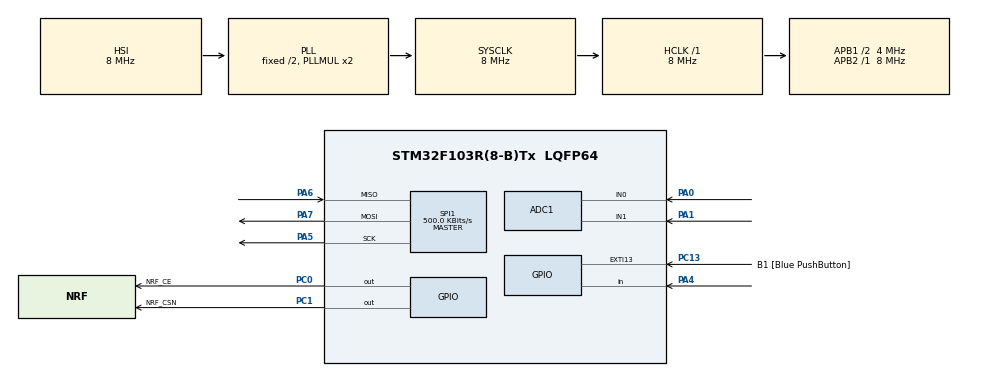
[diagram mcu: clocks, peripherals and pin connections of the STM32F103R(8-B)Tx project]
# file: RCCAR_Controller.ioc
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ADC1.Channel-3\#ChannelRegularConversion=ADC_CHANNEL_0
ADC1.Channel-4\#ChannelRegularConversion=ADC_CHANNEL_1
ADC1.ContinuousConvMode=ENABLE
ADC1.NbrOfConversion=2
ADC1.NbrOfConversionFlag=1
ADC1.Rank-3\#ChannelRegularConversion=1
ADC1.Rank-4\#ChannelRegularConversion=2
ADC1.SamplingTime-3\#ChannelRegularConversion=ADC_SAMPLETIME_71CYCLES_5
ADC1.SamplingTime-4\#ChannelRegularConversion=ADC_SAMPLETIME_71CYCLES_5
ADC1.master=1
Mcu.Family=STM32F1
Mcu.Name=STM32F103R(8-B)Tx
Mcu.Package=LQFP64
NVIC.EXTI15_10_IRQn=true\:0\:0\:false\:false\:true\:true\:true\:true
NVIC.PriorityGroup=NVIC_PRIORITYGROUP_4
PA0-WKUP.Signal=ADCx_IN0
PA1.Signal=ADCx_IN1
PA13.GPIO_Label=TMS
PA13.Mode=Serial_Wire
PA13.Signal=SYS_JTMS-SWDIO
PA14.GPIO_Label=TCK
PA14.Mode=Serial_Wire
PA14.Signal=SYS_JTCK-SWCLK
PA2.GPIO_Label=USART_TX
PA2.GPIO_Mode=GPIO_MODE_AF_PP
PA2.GPIO_PuPd=GPIO_NOPULL
PA2.GPIO_Speed=GPIO_SPEED_FREQ_LOW
PA2.Signal=USART2_TX
PA3.GPIO_Label=USART_RX
PA3.GPIO_Mode=GPIO_MODE_AF_PP
PA3.GPIO_PuPd=GPIO_NOPULL
PA3.GPIO_Speed=GPIO_SPEED_FREQ_LOW
PA3.Signal=USART2_RX
PA4.GPIO_PuPd=GPIO_PULLUP
PA4.Signal=GPIO_Input
PA5.Mode=Full_Duplex_Master
PA5.Signal=SPI1_SCK
PA6.Mode=Full_Duplex_Master
PA6.Signal=SPI1_MISO
PA7.Mode=Full_Duplex_Master
PA7.Signal=SPI1_MOSI
PB3.GPIO_Label=SWO
PB3.Signal=SYS_JTDO-TRACESWO
PC0.GPIO_Label=NRF_CE
PC0.Signal=GPIO_Output
PC1.GPIO_Label=NRF_CSN
PC1.PinState=GPIO_PIN_SET
PC1.Signal=GPIO_Output
PC13-TAMPER-RTC.GPIO_Label=B1 [Blue PushButton]
PC13-TAMPER-RTC.GPIO_ModeDefaultEXTI=GPIO_MODE_IT_FALLING
PC13-TAMPER-RTC.GPIO_PuPd=GPIO_NOPULL
PC13-TAMPER-RTC.Signal=GPXTI13
PC14-OSC32_IN.Signal=RCC_OSC32_IN
PC15-OSC32_OUT.Signal=RCC_OSC32_OUT
PD0-OSC_IN.Signal=RCC_OSC_IN
PD1-OSC_OUT.Signal=RCC_OSC_OUT
ProjectManager.HeapSize=0x200
ProjectManager.StackSize=0x400
ProjectManager.TargetToolchain=STM32CubeIDE
RCC.AHBFreq_Value=8000000
RCC.APB1CLKDivider=RCC_HCLK_DIV2
RCC.APB1Freq_Value=4000000
RCC.APB1TimFreq_Value=8000000
RCC.APB2Freq_Value=8000000
RCC.APB2TimFreq_Value=8000000
RCC.HCLKFreq_Value=8000000
RCC.SYSCLKFreq_VALUE=8000000
RCC.SYSCLKSource=RCC_SYSCLKSOURCE_PLLCLK
RCC.USBFreq_Value=8000000
SH.ADCx_IN0.0=ADC1_IN0,IN0
SH.ADCx_IN1.0=ADC1_IN1,IN1
SPI1.BaudRatePrescaler=SPI_BAUDRATEPRESCALER_16
SPI1.CalculateBaudRate=500.0 KBits/s
SPI1.Direction=SPI_DIRECTION_2LINES
SPI1.Mode=SPI_MODE_MASTER
SPI1.VirtualType=VM_MASTER
board=NUCLEO-F103RB

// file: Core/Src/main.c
/* USER CODE BEGIN Header */
/**
  ******************************************************************************
  * @file           : main.c
  * @brief          : Main program body
  ******************************************************************************
  * @attention
  *
  * Copyright (c) 2026 STMicroelectronics.
  * All rights reserved.
  *
  * This software is licensed under terms that can be found in the LICENSE file
  * in the root directory of this software component.
  * If no LICENSE file comes with this software, it is provided AS-IS.
  *
  ******************************************************************************
  */
/* USER CODE END Header */
#include "main.h"

/* USER CODE BEGIN PD */

#define NRF_CMD_R_REGISTER       0x00
#define NRF_CMD_W_REGISTER       0x20
#define NRF_CMD_W_TX_PAYLOAD     0xA0
#define NRF_CMD_FLUSH_TX         0xE1

#define NRF_REG_CONFIG           0x00
#define NRF_REG_EN_AA            0x01
#define NRF_REG_EN_RXADDR        0x02
#define NRF_REG_SETUP_AW         0x03
#define NRF_REG_SETUP_RETR       0x04
#define NRF_REG_RF_CH            0x05
#define NRF_REG_RF_SETUP         0x06
#define NRF_REG_STATUS           0x07
#define NRF_REG_RX_ADDR_P0       0x0A
#define NRF_REG_TX_ADDR          0x10

#define NRF_STATUS_TX_DS         0x20
#define NRF_STATUS_MAX_RT        0x10

#define CMD_STOP                 0
#define CMD_FORWARD              1
#define CMD_REVERSE              2
#define CMD_LEFT                 3
#define CMD_RIGHT                4

#define JOY_DEFAULT_CENTER       2048
#define JOY_DEADZONE_Y           400
#define JOY_DEADZONE_X           180
#define JOY_CROSS_CANCEL_X       260
#define JOY_CROSS_CANCEL_Y       260
#define JOY_AXIS_PRIORITY        0
#define JOY_HYSTERESIS_X         0
#define JOY_HYSTERESIS_Y         0
#define JOY_PRIORITY_HYSTERESIS  0
#define JOY_CALIBRATION_SAMPLES  40
#define MODE_TOGGLE_DEBOUNCE_MS  200
#define JOY_BTN_GPIO_Port        GPIOA
#define JOY_BTN_Pin              GPIO_PIN_4
#define JOY_SWAP_AXES            1
#define JOY_INVERT_X             1
#define JOY_INVERT_Y             1

/* USER CODE END PD */

ADC_HandleTypeDef hadc1;

SPI_HandleTypeDef hspi1;

/* USER CODE BEGIN PV */
typedef enum {
  DRIVE_MODE_FB = 1,
  DRIVE_MODE_LR = 0
} DriveMode_t;

static uint16_t joyCenterX = JOY_DEFAULT_CENTER;
static uint16_t joyCenterY = JOY_DEFAULT_CENTER;
static DriveMode_t driveMode = DRIVE_MODE_FB;
static GPIO_PinState buttonPrevState = GPIO_PIN_SET;
static uint32_t lastModeToggleMs = 0;

/* USER CODE END PV */

void SystemClock_Config(void);
static void MX_GPIO_Init(void);
static void MX_ADC1_Init(void);
static void MX_SPI1_Init(void);

/* USER CODE BEGIN 0 */

static uint8_t NRF24_SPI_Transfer(uint8_t value)
{
  uint8_t rx = 0;
  HAL_SPI_TransmitReceive(&hspi1, &value, &rx, 1, HAL_MAX_DELAY);
  return rx;
}

static void NRF24_CSN(uint8_t state)
{
  HAL_GPIO_WritePin(NRF_CSN_GPIO_Port, NRF_CSN_Pin, state ? GPIO_PIN_SET : GPIO_PIN_RESET);
}

static void NRF24_CE(uint8_t state)
{
  HAL_GPIO_WritePin(NRF_CE_GPIO_Port, NRF_CE_Pin, state ? GPIO_PIN_SET : GPIO_PIN_RESET);
}

static uint8_t NRF24_ReadReg(uint8_t reg)
{
  uint8_t value;
  NRF24_CSN(0);
  NRF24_SPI_Transfer(NRF_CMD_R_REGISTER | (reg & 0x1F));
  value = NRF24_SPI_Transfer(0xFF);
  NRF24_CSN(1);
  return value;
}

static void NRF24_WriteReg(uint8_t reg, uint8_t value)
{
  NRF24_CSN(0);
  NRF24_SPI_Transfer(NRF_CMD_W_REGISTER | (reg & 0x1F));
  NRF24_SPI_Transfer(value);
  NRF24_CSN(1);
}

static void NRF24_WriteBuf(uint8_t reg, const uint8_t *data, uint8_t len)
{
  uint8_t i;
  NRF24_CSN(0);
  NRF24_SPI_Transfer(NRF_CMD_W_REGISTER | (reg & 0x1F));
  for (i = 0; i < len; i++) {
    NRF24_SPI_Transfer(data[i]);
  }
  NRF24_CSN(1);
}

static void NRF24_InitTx(void)
{
  const uint8_t addr[5] = {'c', 'a', 'r', '0', '1'};

  NRF24_CE(0);
  HAL_Delay(5);

  NRF24_WriteReg(NRF_REG_EN_AA, 0x01);
  NRF24_WriteReg(NRF_REG_EN_RXADDR, 0x01);
  NRF24_WriteReg(NRF_REG_SETUP_AW, 0x03);    // 5-byte address
  NRF24_WriteReg(NRF_REG_SETUP_RETR, 0x2F);  // auto-retry delay/count
  NRF24_WriteReg(NRF_REG_RF_CH, 76);         // 2.476 GHz
  NRF24_WriteReg(NRF_REG_RF_SETUP, 0x06);    // 1 Mbps, 0 dBm
  NRF24_WriteBuf(NRF_REG_TX_ADDR, addr, 5);
  NRF24_WriteBuf(NRF_REG_RX_ADDR_P0, addr, 5);
  NRF24_WriteReg(NRF_REG_STATUS, 0x70);
  NRF24_WriteReg(NRF_REG_CONFIG, 0x0E);      // PWR_UP=1, PRIM_RX=0, CRC on

  NRF24_CSN(0);
  NRF24_SPI_Transfer(NRF_CMD_FLUSH_TX);
  NRF24_CSN(1);

  HAL_Delay(2);
}

static void NRF24_SendByte(uint8_t value)
{
  uint8_t status;

  NRF24_CSN(0);
  NRF24_SPI_Transfer(NRF_CMD_W_TX_PAYLOAD);
  NRF24_SPI_Transfer(value);
  NRF24_CSN(1);

  NRF24_CE(1);
  HAL_Delay(1);
  NRF24_CE(0);

  status = NRF24_ReadReg(NRF_REG_STATUS);
  NRF24_WriteReg(NRF_REG_STATUS, NRF_STATUS_TX_DS | NRF_STATUS_MAX_RT);

  if (status & NRF_STATUS_MAX_RT) {
    NRF24_CSN(0);
    NRF24_SPI_Transfer(NRF_CMD_FLUSH_TX);
    NRF24_CSN(1);
  }
}

static void Joystick_Read(uint16_t *x, uint16_t *y)
{
  if (HAL_ADC_Start(&hadc1) != HAL_OK) {
    *x = 2048;
    *y = 2048;
    return;
  }

  if (HAL_ADC_PollForConversion(&hadc1, HAL_MAX_DELAY) == HAL_OK) {
    *x = (uint16_t)HAL_ADC_GetValue(&hadc1);
  } else {
    *x = 2048;
  }

  if (HAL_ADC_PollForConversion(&hadc1, HAL_MAX_DELAY) == HAL_OK) {
    *y = (uint16_t)HAL_ADC_GetValue(&hadc1);
  } else {
    *y = 2048;
  }

  HAL_ADC_Stop(&hadc1);
}

static void Joystick_CalibrateCenter(void)
{
  uint32_t sumX = 0;
  uint32_t sumY = 0;
  uint16_t x;
  uint16_t y;
  uint8_t i;

  for (i = 0; i < JOY_CALIBRATION_SAMPLES; i++) {
    Joystick_Read(&x, &y);
    sumX += x;
    sumY += y;
    HAL_Delay(5);
  }

  joyCenterX = (uint16_t)(sumX / JOY_CALIBRATION_SAMPLES);
  joyCenterY = (uint16_t)(sumY / JOY_CALIBRATION_SAMPLES);
}

static int16_t Abs16(int16_t value)
{
  return (value < 0) ? (int16_t)(-value) : value;
}

static uint8_t UpdateDriveModeFromButton(void)
{
  GPIO_PinState buttonNow = HAL_GPIO_ReadPin(JOY_BTN_GPIO_Port, JOY_BTN_Pin);
  uint32_t nowMs = HAL_GetTick();

  if ((buttonPrevState == GPIO_PIN_SET) &&
      (buttonNow == GPIO_PIN_RESET) &&
      ((nowMs - lastModeToggleMs) > MODE_TOGGLE_DEBOUNCE_MS)) {
    if (driveMode == DRIVE_MODE_FB) {
      driveMode = DRIVE_MODE_LR;
    } else {
      driveMode = DRIVE_MODE_FB;
    }
    lastModeToggleMs = nowMs;
    buttonPrevState = buttonNow;
    return 1;
  }

  buttonPrevState = buttonNow;
  return 0;
}

static uint8_t Command_FromJoystick(uint16_t x, uint16_t y)
{
  int16_t dx = (int16_t)x - (int16_t)joyCenterX;
  int16_t dy = (int16_t)y - (int16_t)joyCenterY;
  int16_t axisX = dx;
  int16_t axisY = dy;
  int16_t joystickX;
  int16_t joystickY;

#if JOY_SWAP_AXES
  axisX = dy;
  axisY = dx;
#endif

  joystickX = axisX;
  joystickY = axisY;

#if JOY_INVERT_X
  joystickX = -joystickX;
#endif

#if JOY_INVERT_Y
  joystickY = -joystickY;
#endif

  if (driveMode == DRIVE_MODE_FB) {
    if (joystickY > JOY_DEADZONE_Y) {
      return CMD_FORWARD;
    }
    if (joystickY < -JOY_DEADZONE_Y) {
      return CMD_REVERSE;
    }
  } else {
    if (joystickX > JOY_DEADZONE_X) {
      return CMD_RIGHT;
    }
    if (joystickX < -JOY_DEADZONE_X) {
      return CMD_LEFT;
    }
  }

  return CMD_STOP;
}

/* USER CODE END 0 */

int main(void)
{

  /* MCU Configuration--------------------------------------------------------*/

  /* Reset of all peripherals, Initializes the Flash interface and the Systick. */
  HAL_Init();

  /* Configure the system clock */
  SystemClock_Config();

  /* Initialize all configured peripherals */
  MX_GPIO_Init();
  MX_ADC1_Init();
  MX_SPI1_Init();
  /* USER CODE BEGIN 2 */
  uint16_t joyX = 2048;
  uint16_t joyY = 2048;
  uint8_t cmd = CMD_STOP;

  NRF24_InitTx();
  HAL_Delay(300);
  Joystick_CalibrateCenter();

  /* USER CODE END 2 */

  /* Infinite loop */
  /* USER CODE BEGIN WHILE */
  while (1)
  {
    if (UpdateDriveModeFromButton() != 0U) {
      cmd = CMD_STOP;
    } else {
      Joystick_Read(&joyX, &joyY);
      cmd = Command_FromJoystick(joyX, joyY);
    }

    NRF24_SendByte(cmd);

    HAL_Delay(50);
    /* USER CODE END WHILE */

  }
}

void SystemClock_Config(void)
{
  RCC_OscInitTypeDef RCC_OscInitStruct = {0};
  RCC_ClkInitTypeDef RCC_ClkInitStruct = {0};
  RCC_PeriphCLKInitTypeDef PeriphClkInit = {0};

  /** Initializes the RCC Oscillators according to the specified parameters
  * in the RCC_OscInitTypeDef structure.
  */
  RCC_OscInitStruct.OscillatorType = RCC_OSCILLATORTYPE_HSI;
  RCC_OscInitStruct.HSIState = RCC_HSI_ON;
  RCC_OscInitStruct.HSICalibrationValue = RCC_HSICALIBRATION_DEFAULT;
  RCC_OscInitStruct.PLL.PLLState = RCC_PLL_ON;
  RCC_OscInitStruct.PLL.PLLSource = RCC_PLLSOURCE_HSI_DIV2;
  RCC_OscInitStruct.PLL.PLLMUL = RCC_PLL_MUL2;
  if (HAL_RCC_OscConfig(&RCC_OscInitStruct) != HAL_OK)
  {
    Error_Handler();
  }

  /** Initializes the CPU, AHB and APB buses clocks
  */
  RCC_ClkInitStruct.ClockType = RCC_CLOCKTYPE_HCLK|RCC_CLOCKTYPE_SYSCLK
                              |RCC_CLOCKTYPE_PCLK1|RCC_CLOCKTYPE_PCLK2;
  RCC_ClkInitStruct.SYSCLKSource = RCC_SYSCLKSOURCE_PLLCLK;
  RCC_ClkInitStruct.AHBCLKDivider = RCC_SYSCLK_DIV1;
  RCC_ClkInitStruct.APB1CLKDivider = RCC_HCLK_DIV2;
  RCC_ClkInitStruct.APB2CLKDivider = RCC_HCLK_DIV1;

  if (HAL_RCC_ClockConfig(&RCC_ClkInitStruct, FLASH_LATENCY_0) != HAL_OK)
  {
    Error_Handler();
  }
  PeriphClkInit.PeriphClockSelection = RCC_PERIPHCLK_ADC;
  PeriphClkInit.AdcClockSelection = RCC_ADCPCLK2_DIV2;
  if (HAL_RCCEx_PeriphCLKConfig(&PeriphClkInit) != HAL_OK)
  {
    Error_Handler();
  }
}

static void MX_ADC1_Init(void)
{

  ADC_ChannelConfTypeDef sConfig = {0};

  /** Common config
  */
  hadc1.Instance = ADC1;
  hadc1.Init.ScanConvMode = ADC_SCAN_ENABLE;
  hadc1.Init.ContinuousConvMode = ENABLE;
  hadc1.Init.DiscontinuousConvMode = DISABLE;
  hadc1.Init.ExternalTrigConv = ADC_SOFTWARE_START;
  hadc1.Init.DataAlign = ADC_DATAALIGN_RIGHT;
  hadc1.Init.NbrOfConversion = 2;
  if (HAL_ADC_Init(&hadc1) != HAL_OK)
  {
    Error_Handler();
  }

  /** Configure Regular Channel
  */
  sConfig.Channel = ADC_CHANNEL_0;
  sConfig.Rank = ADC_REGULAR_RANK_1;
  sConfig.SamplingTime = ADC_SAMPLETIME_71CYCLES_5;
  if (HAL_ADC_ConfigChannel(&hadc1, &sConfig) != HAL_OK)
  {
    Error_Handler();
  }

  /** Configure Regular Channel
  */
  sConfig.Channel = ADC_CHANNEL_1;
  sConfig.Rank = ADC_REGULAR_RANK_2;
  if (HAL_ADC_ConfigChannel(&hadc1, &sConfig) != HAL_OK)
  {
    Error_Handler();
  }

}

static void MX_SPI1_Init(void)
{

  /* SPI1 parameter configuration*/
  hspi1.Instance = SPI1;
  hspi1.Init.Mode = SPI_MODE_MASTER;
  hspi1.Init.Direction = SPI_DIRECTION_2LINES;
  hspi1.Init.DataSize = SPI_DATASIZE_8BIT;
  hspi1.Init.CLKPolarity = SPI_POLARITY_LOW;
  hspi1.Init.CLKPhase = SPI_PHASE_1EDGE;
  hspi1.Init.NSS = SPI_NSS_SOFT;
  hspi1.Init.BaudRatePrescaler = SPI_BAUDRATEPRESCALER_16;
  hspi1.Init.FirstBit = SPI_FIRSTBIT_MSB;
  hspi1.Init.TIMode = SPI_TIMODE_DISABLE;
  hspi1.Init.CRCCalculation = SPI_CRCCALCULATION_DISABLE;
  hspi1.Init.CRCPolynomial = 10;
  if (HAL_SPI_Init(&hspi1) != HAL_OK)
  {
    Error_Handler();
  }

}

static void MX_GPIO_Init(void)
{
  GPIO_InitTypeDef GPIO_InitStruct = {0};

  /* GPIO Ports Clock Enable */
  __HAL_RCC_GPIOC_CLK_ENABLE();
  __HAL_RCC_GPIOD_CLK_ENABLE();
  __HAL_RCC_GPIOA_CLK_ENABLE();
  __HAL_RCC_GPIOB_CLK_ENABLE();

  /*Configure GPIO pin Output Level */
  HAL_GPIO_WritePin(NRF_CE_GPIO_Port, NRF_CE_Pin, GPIO_PIN_RESET);

  /*Configure GPIO pin Output Level */
  HAL_GPIO_WritePin(NRF_CSN_GPIO_Port, NRF_CSN_Pin, GPIO_PIN_SET);

  /*Configure GPIO pin : B1_Pin */
  GPIO_InitStruct.Pin = B1_Pin;
  GPIO_InitStruct.Mode = GPIO_MODE_IT_FALLING;
  GPIO_InitStruct.Pull = GPIO_NOPULL;
  HAL_GPIO_Init(B1_GPIO_Port, &GPIO_InitStruct);

  /*Configure GPIO pins : NRF_CE_Pin NRF_CSN_Pin */
  GPIO_InitStruct.Pin = NRF_CE_Pin|NRF_CSN_Pin;
  GPIO_InitStruct.Mode = GPIO_MODE_OUTPUT_PP;
  GPIO_InitStruct.Pull = GPIO_NOPULL;
  GPIO_InitStruct.Speed = GPIO_SPEED_FREQ_LOW;
  HAL_GPIO_Init(GPIOC, &GPIO_InitStruct);

  /*Configure GPIO pins : USART_TX_Pin USART_RX_Pin */
  GPIO_InitStruct.Pin = USART_TX_Pin|USART_RX_Pin;
  GPIO_InitStruct.Mode = GPIO_MODE_AF_PP;
  GPIO_InitStruct.Speed = GPIO_SPEED_FREQ_LOW;
  HAL_GPIO_Init(GPIOA, &GPIO_InitStruct);

  /*Configure GPIO pin : PA4 */
  GPIO_InitStruct.Pin = GPIO_PIN_4;
  GPIO_InitStruct.Mode = GPIO_MODE_INPUT;
  GPIO_InitStruct.Pull = GPIO_PULLUP;
  HAL_GPIO_Init(GPIOA, &GPIO_InitStruct);

  /* EXTI interrupt init*/
  HAL_NVIC_SetPriority(EXTI15_10_IRQn, 0, 0);
  HAL_NVIC_EnableIRQ(EXTI15_10_IRQn);

}

void Error_Handler(void)
{
  __disable_irq();
  while (1)
  {
  }
}
